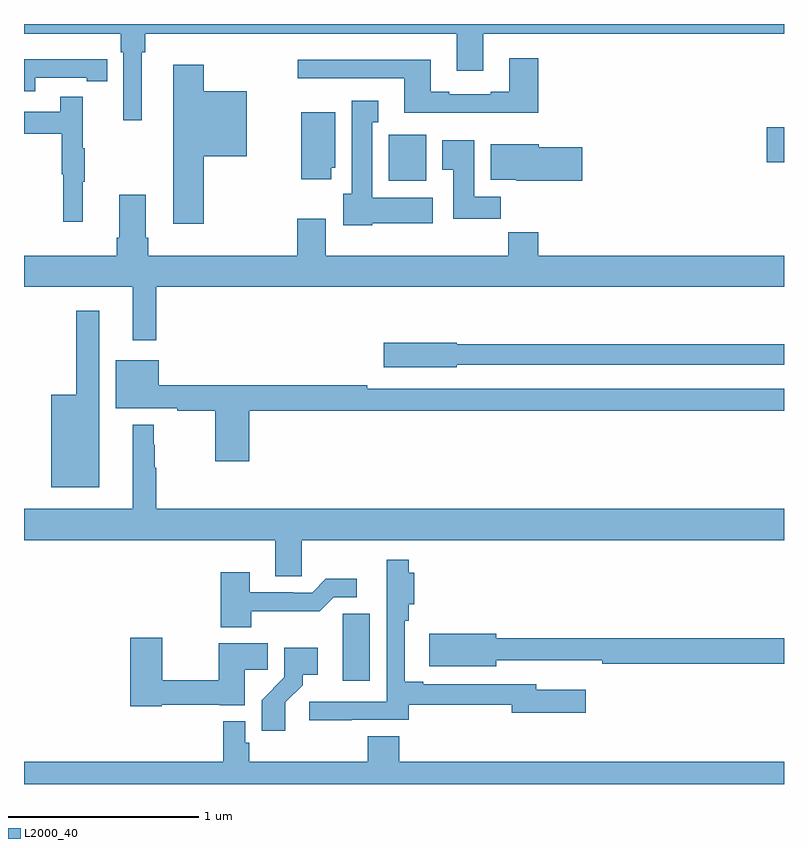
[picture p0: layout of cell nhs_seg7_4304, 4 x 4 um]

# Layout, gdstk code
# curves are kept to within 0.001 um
import gdstk
lib = gdstk.Library(unit=1e-6, precision=1e-09)
def R(c, l, rs):  # rectangles x0, y0, x1, y1
    for r in rs: c.add(gdstk.rectangle(r[:2], r[2:], *l))
def P(c, l, *ps):  # polygons
    for p in ps: c.add(gdstk.Polygon(p, *l))
L2000_40 = (2000, 40)

nhs_seg7_4304 = lib.new_cell('nhs_seg7_4304')
R(nhs_seg7_4304, L2000_40, [(384.92,1001.174,385.117,1001.416), (386.91,1001.273,387,1001.456)])
P(nhs_seg7_4304, L2000_40, [(383.62,1001.852),(383.639,1001.852),(383.639,1001.948),(385.277,1001.948),(385.277,1001.754),(385.417,1001.754),(385.417,1001.948),(387,1001.948),(387,1002),(383,1002),(383,1001.948),(383.51,1001.948),(383.51,1001.852),(383.523,1001.852),(383.523,1001.493),(383.62,1001.493)],
  [(385.706,1001.821),(385.553,1001.821),(385.553,1001.644),(385.457,1001.644),(385.457,1001.631),(385.237,1001.631),(385.237,1001.644),(385.141,1001.644),(385.141,1001.812),(384.441,1001.812),(384.441,1001.715),(385.001,1001.715),(385.001,1001.534),(385.706,1001.534)],
  [(383.058,1001.718),(383.33,1001.718),(383.33,1001.698),(383.438,1001.698),(383.438,1001.814),(383.33,1001.814),(383.33,1001.815),(383,1001.815),(383,1001.646),(383.058,1001.646)],
  [(383.945,1001.303),(384.172,1001.303),(384.172,1001.647),(383.945,1001.647),(383.945,1001.785),(383.786,1001.785),(383.786,1000.95),(383.945,1000.95)],
  [(383.309,1001.171),(383.32,1001.171),(383.32,1001.345),(383.309,1001.345),(383.309,1001.617),(383.191,1001.617),(383.191,1001.538),(383,1001.538),(383,1001.422),(383.199,1001.422),(383.199,1001.208),(383.206,1001.208),(383.206,1000.959),(383.309,1000.959)],
  [(384.834,1000.952),(385.15,1000.952),(385.15,1001.086),(384.832,1001.086),(384.832,1001.483),(384.865,1001.483),(384.865,1001.596),(384.725,1001.596),(384.725,1001.106),(384.68,1001.106),(384.68,1000.94),(384.834,1000.94)],
  [(384.616,1001.244),(384.637,1001.244),(384.637,1001.536),(384.458,1001.536),(384.458,1001.184),(384.616,1001.184)],
  [(385.508,1001.092),(385.369,1001.092),(385.369,1001.389),(385.202,1001.389),(385.202,1001.233),(385.259,1001.233),(385.259,1000.974),(385.508,1000.974)],
  [(385.939,1001.351),(385.708,1001.351),(385.708,1001.368),(385.457,1001.368),(385.457,1001.18),(385.59,1001.18),(385.59,1001.174),(385.939,1001.174)],
  [(383.695,1000.616),(387,1000.616),(387,1000.78),(385.706,1000.78),(385.706,1000.904),(385.549,1000.904),(385.549,1000.78),(384.589,1000.78),(384.589,1000.975),(384.437,1000.975),(384.437,1000.78),(383.654,1000.78),(383.654,1000.876),(383.641,1000.876),(383.641,1001.101),(383.501,1001.101),(383.501,1000.876),(383.489,1000.876),(383.489,1000.78),(383,1000.78),(383,1000.616),(383.573,1000.616),(383.573,1000.335),(383.695,1000.335)],
  [(383.395,1000.492),(383.274,1000.492),(383.274,1000.048),(383.144,1000.048),(383.144,999.563),(383.395,999.563)],
  [(385.278,1000.206),(387,1000.206),(387,1000.315),(385.278,1000.315),(385.278,1000.323),(384.894,1000.323),(384.894,1000.193),(385.278,1000.193)],
  [(384.185,999.964),(387,999.964),(387,1000.08),(384.806,1000.08),(384.806,1000.1),(383.71,1000.1),(383.71,1000.231),(383.483,1000.231),(383.483,999.977),(383.806,999.977),(383.806,999.964),(384.007,999.964),(384.007,999.699),(384.185,999.699)],
  [(384.462,999.284),(387,999.284),(387,999.448),(383.695,999.448),(383.695,999.665),(383.687,999.665),(383.687,999.785),(383.684,999.785),(383.684,999.892),(383.573,999.892),(383.573,999.448),(383,999.448),(383,999.284),(384.323,999.284),(384.323,999.094),(384.462,999.094)],
  [(384.725,998.337),(385.025,998.337),(385.025,998.418),(385.568,998.418),(385.568,998.375),(385.957,998.375),(385.957,998.497),(385.696,998.497),(385.696,998.526),(385.102,998.526),(385.102,998.539),(385.005,998.539),(385.005,998.858),(385.025,998.858),(385.025,998.947),(385.055,998.947),(385.055,999.112),(385.025,999.112),(385.025,999.181),(384.908,999.181),(384.908,998.958),(384.909,998.958),(384.909,998.433),(384.501,998.433),(384.501,998.335),(384.725,998.335)],
  [(384.195,998.91),(384.557,998.909),(384.63,998.982),(384.751,998.982),(384.751,999.079),(384.589,999.079),(384.516,999.006),(384.416,999.006),(384.416,999.009),(384.187,999.009),(384.187,999.115),(384.035,999.115),(384.035,998.825),(384.195,998.825)],
  [(384.82,998.897),(384.678,998.897),(384.678,998.786),(384.677,998.786),(384.677,998.544),(384.82,998.544)],
  [(385.486,998.652),(385.792,998.652),(385.792,998.651),(386.044,998.651),(386.044,998.632),(387,998.632),(387,998.768),(385.486,998.768),(385.486,998.792),(385.134,998.792),(385.134,998.621),(385.486,998.621)],
  [(383.724,998.418),(384.03,998.418),(384.03,998.414),(384.163,998.414),(384.163,998.602),(384.284,998.602),(384.284,998.74),(384.026,998.74),(384.026,998.546),(383.728,998.546),(383.728,998.77),(383.558,998.77),(383.558,998.41),(383.724,998.41)],
  [(384.376,998.431),(384.466,998.521),(384.466,998.576),(384.547,998.576),(384.547,998.716),(384.369,998.716),(384.369,998.561),(384.25,998.442),(384.25,998.28),(384.376,998.28)],
  [(387,998.116),(384.974,998.116),(384.974,998.252),(384.809,998.252),(384.809,998.116),(384.185,998.116),(384.185,998.217),(384.165,998.217),(384.165,998.329),(384.049,998.329),(384.049,998.116),(383,998.116),(383,998),(387,998)])

lib.write_gds('nhs_seg7_4304.gds')
